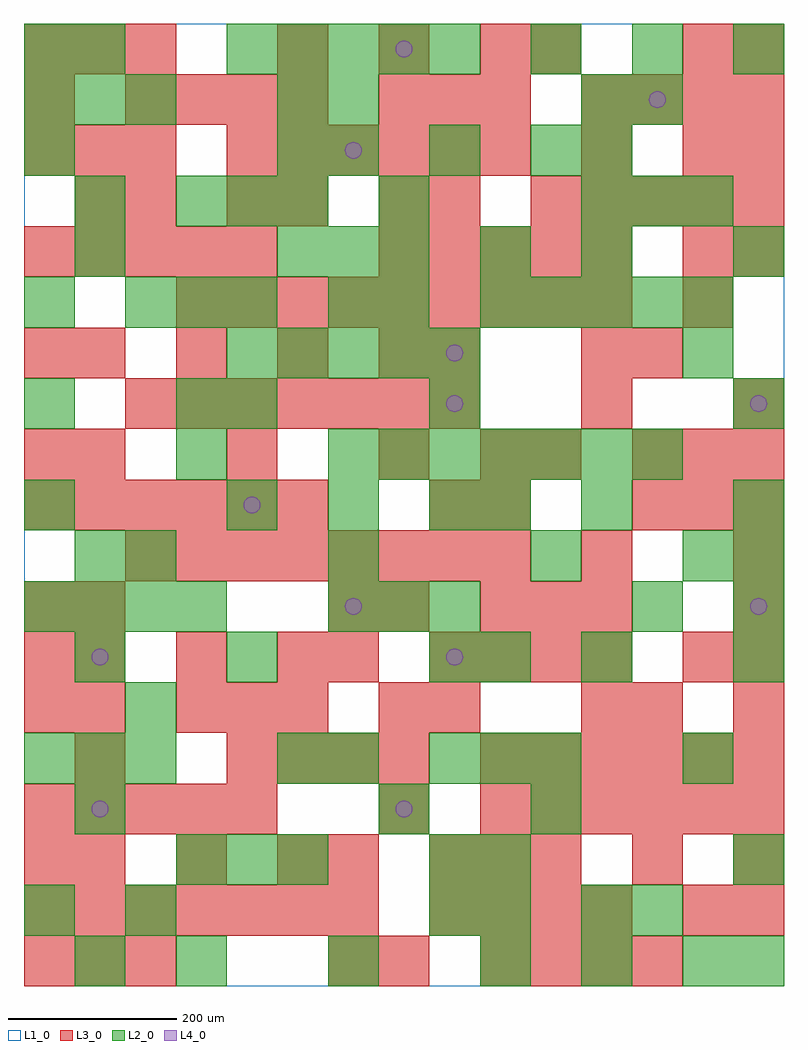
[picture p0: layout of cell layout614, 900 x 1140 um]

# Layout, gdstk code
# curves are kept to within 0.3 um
import gdstk
lib = gdstk.Library(unit=1e-6, precision=1e-09)
def R(c, l, rs):  # rectangles x0, y0, x1, y1
    for r in rs: c.add(gdstk.rectangle(r[:2], r[2:], *l))
def A(c, l, x, y, w, h, nx, ny, dx, dy):  # array of equal rectangles
    R(c, l, [(x+i*dx, y+j*dy, x+i*dx+w, y+j*dy+h) for i in range(nx) for j in range(ny)])
def P(c, l, *ps):  # polygons
    for p in ps: c.add(gdstk.Polygon(p, *l))
L1_0 = (1, 0)
L2_0 = (2, 0)
L3_0 = (3, 0)
L4_0 = (4, 0)

layout614 = lib.new_cell('layout614')
R(layout614, L1_0, [(0,0,900,1140)])
A(layout614, L2_0, 60, 0, 60, 60, 1, 3, 0, 180)
A(layout614, L2_0, 180, 0, 60, 60, 3, 1, 180, 0)
A(layout614, L2_0, 780, 0, 60, 60, 1, 4, 0, 240)
A(layout614, L2_0, 180, 120, 60, 60, 3, 2, 60, 780)
A(layout614, L2_0, 0, 240, 60, 60, 3, 2, 60, 780)
A(layout614, L2_0, 480, 240, 60, 60, 3, 1, 60, 0)
A(layout614, L2_0, 840, 360, 60, 60, 1, 4, 0, 60)
A(layout614, L2_0, 0, 420, 60, 60, 4, 1, 60, 0)
A(layout614, L2_0, 360, 420, 60, 60, 3, 1, 60, 0)
A(layout614, L2_0, 120, 480, 60, 60, 3, 1, 240, 0)
A(layout614, L2_0, 0, 540, 60, 60, 1, 3, 0, 120)
A(layout614, L2_0, 240, 540, 60, 60, 3, 1, 120, 0)
A(layout614, L2_0, 360, 600, 60, 60, 7, 1, 60, 0)
A(layout614, L2_0, 240, 720, 60, 60, 5, 2, 60, 360)
A(layout614, L2_0, 120, 780, 60, 60, 3, 1, 60, 0)
A(layout614, L2_0, 540, 780, 60, 60, 5, 1, 60, 0)
A(layout614, L2_0, 300, 840, 60, 60, 3, 1, 60, 0)
A(layout614, L2_0, 660, 900, 60, 60, 3, 1, 60, 0)
A(layout614, L2_0, 360, 960, 60, 60, 3, 1, 120, 0)
A(layout614, L2_0, 600, 1080, 60, 60, 3, 1, 120, 0)
R(layout614, L2_0, [(660,0,720,60), (840,0,900,60), (0,60,60,120), (120,60,180,120), (480,60,540,120), (540,60,600,120), (660,60,720,120), (720,60,780,120), (480,120,540,180), (540,120,600,180), (840,120,900,180), (420,180,480,240), (600,180,660,240), (300,240,360,300), (360,240,420,300), (120,300,180,360), (240,360,300,420), (480,360,540,420), (540,360,600,420), (660,360,720,420), (720,420,780,480), (60,480,120,540), (540,540,600,600), (660,540,720,600), (180,600,240,660), (180,660,240,720), (240,660,300,720), (480,660,540,720), (840,660,900,720), (360,780,420,840), (420,780,480,840), (60,840,120,900), (540,840,600,900), (660,840,720,900), (840,840,900,900), (60,900,120,960), (420,900,480,960), (0,960,60,1020), (300,960,360,1020), (660,960,720,1020), (300,1020,360,1080), (360,1020,420,1080), (660,1020,720,1080), (720,1020,780,1080), (0,1080,60,1140), (60,1080,120,1140)])
A(layout614, L3_0, 0, 0, 60, 60, 3, 2, 60, 960)
A(layout614, L3_0, 540, 0, 60, 60, 4, 1, 60, 0)
A(layout614, L3_0, 0, 60, 60, 60, 7, 1, 60, 0)
A(layout614, L3_0, 480, 60, 60, 60, 4, 2, 60, 300)
A(layout614, L3_0, 60, 120, 60, 60, 3, 2, 120, 240)
A(layout614, L3_0, 480, 120, 60, 60, 3, 1, 60, 0)
A(layout614, L3_0, 0, 180, 60, 60, 5, 2, 60, 660)
A(layout614, L3_0, 420, 180, 60, 60, 1, 3, 0, 120)
A(layout614, L3_0, 540, 180, 60, 60, 6, 2, 60, 60)
A(layout614, L3_0, 240, 240, 60, 60, 4, 1, 60, 0)
A(layout614, L3_0, 0, 300, 60, 60, 1, 3, 0, 60)
A(layout614, L3_0, 180, 300, 60, 60, 3, 1, 60, 0)
A(layout614, L3_0, 660, 300, 60, 60, 1, 3, 0, 180)
A(layout614, L3_0, 840, 300, 60, 60, 1, 4, 0, 60)
A(layout614, L3_0, 540, 420, 60, 60, 3, 1, 60, 0)
A(layout614, L3_0, 120, 480, 60, 60, 8, 1, 60, 0)
A(layout614, L3_0, 0, 540, 60, 60, 6, 1, 60, 0)
A(layout614, L3_0, 480, 540, 60, 60, 1, 3, 0, 180)
A(layout614, L3_0, 720, 540, 60, 60, 3, 2, 60, 60)
A(layout614, L3_0, 60, 600, 60, 60, 3, 1, 180, 0)
A(layout614, L3_0, 120, 660, 60, 60, 7, 1, 60, 0)
A(layout614, L3_0, 60, 720, 60, 60, 4, 1, 120, 0)
A(layout614, L3_0, 180, 780, 60, 60, 9, 1, 60, 0)
A(layout614, L3_0, 420, 840, 60, 60, 5, 1, 60, 0)
A(layout614, L3_0, 780, 840, 60, 60, 1, 3, 0, 120)
A(layout614, L3_0, 840, 840, 60, 60, 1, 3, 0, 120)
A(layout614, L3_0, 600, 900, 60, 60, 5, 1, 60, 0)
A(layout614, L3_0, 240, 960, 60, 60, 6, 1, 60, 0)
A(layout614, L3_0, 120, 1020, 60, 60, 4, 1, 60, 0)
A(layout614, L3_0, 420, 1020, 60, 60, 3, 1, 60, 0)
A(layout614, L3_0, 660, 1020, 60, 60, 4, 1, 60, 0)
A(layout614, L3_0, 0, 1080, 60, 60, 3, 1, 60, 0)
A(layout614, L3_0, 300, 1080, 60, 60, 3, 1, 120, 0)
R(layout614, L3_0, [(360,0,420,60), (420,0,480,60), (780,60,840,120), (840,60,900,120), (0,120,60,180), (360,120,420,180), (720,120,780,180), (840,120,900,180), (60,240,120,300), (60,300,120,360), (480,300,540,360), (720,300,780,360), (360,360,420,420), (780,360,840,420), (60,420,120,480), (360,420,420,480), (540,540,600,600), (0,600,60,660), (540,600,600,660), (600,600,660,660), (840,660,900,720), (0,720,60,780), (660,720,720,780), (720,720,780,780), (780,780,840,840), (60,900,120,960), (120,900,180,960), (240,900,300,960), (300,900,360,960), (420,900,480,960), (660,960,720,1020), (0,1020,60,1080), (600,1080,660,1140)])
P(layout614, L4_0, [(100,210),(99.239,213.827),(97.071,217.071),(93.827,219.239),(90,220),(86.173,219.239),(82.929,217.071),(80.761,213.827),(80,210),(80.761,206.173),(82.929,202.929),(86.173,200.761),(90,200),(93.827,200.761),(97.071,202.929),(99.239,206.173)],
  [(100,390),(99.239,393.827),(97.071,397.071),(93.827,399.239),(90,400),(86.173,399.239),(82.929,397.071),(80.761,393.827),(80,390),(80.761,386.173),(82.929,382.929),(86.173,380.761),(90,380),(93.827,380.761),(97.071,382.929),(99.239,386.173)],
  [(280,570),(279.239,573.827),(277.071,577.071),(273.827,579.239),(270,580),(266.173,579.239),(262.929,577.071),(260.761,573.827),(260,570),(260.761,566.173),(262.929,562.929),(266.173,560.761),(270,560),(273.827,560.761),(277.071,562.929),(279.239,566.173)],
  [(400,450),(399.239,453.827),(397.071,457.071),(393.827,459.239),(390,460),(386.173,459.239),(382.929,457.071),(380.761,453.827),(380,450),(380.761,446.173),(382.929,442.929),(386.173,440.761),(390,440),(393.827,440.761),(397.071,442.929),(399.239,446.173)],
  [(400,990),(399.239,993.827),(397.071,997.071),(393.827,999.239),(390,1000),(386.173,999.239),(382.929,997.071),(380.761,993.827),(380,990),(380.761,986.173),(382.929,982.929),(386.173,980.761),(390,980),(393.827,980.761),(397.071,982.929),(399.239,986.173)],
  [(460,210),(459.239,213.827),(457.071,217.071),(453.827,219.239),(450,220),(446.173,219.239),(442.929,217.071),(440.761,213.827),(440,210),(440.761,206.173),(442.929,202.929),(446.173,200.761),(450,200),(453.827,200.761),(457.071,202.929),(459.239,206.173)],
  [(460,1110),(459.239,1113.827),(457.071,1117.071),(453.827,1119.239),(450,1120),(446.173,1119.239),(442.929,1117.071),(440.761,1113.827),(440,1110),(440.761,1106.173),(442.929,1102.929),(446.173,1100.761),(450,1100),(453.827,1100.761),(457.071,1102.929),(459.239,1106.173)],
  [(520,390),(519.239,393.827),(517.071,397.071),(513.827,399.239),(510,400),(506.173,399.239),(502.929,397.071),(500.761,393.827),(500,390),(500.761,386.173),(502.929,382.929),(506.173,380.761),(510,380),(513.827,380.761),(517.071,382.929),(519.239,386.173)],
  [(520,690),(519.239,693.827),(517.071,697.071),(513.827,699.239),(510,700),(506.173,699.239),(502.929,697.071),(500.761,693.827),(500,690),(500.761,686.173),(502.929,682.929),(506.173,680.761),(510,680),(513.827,680.761),(517.071,682.929),(519.239,686.173)],
  [(520,750),(519.239,753.827),(517.071,757.071),(513.827,759.239),(510,760),(506.173,759.239),(502.929,757.071),(500.761,753.827),(500,750),(500.761,746.173),(502.929,742.929),(506.173,740.761),(510,740),(513.827,740.761),(517.071,742.929),(519.239,746.173)],
  [(760,1050),(759.239,1053.827),(757.071,1057.071),(753.827,1059.239),(750,1060),(746.173,1059.239),(742.929,1057.071),(740.761,1053.827),(740,1050),(740.761,1046.173),(742.929,1042.929),(746.173,1040.761),(750,1040),(753.827,1040.761),(757.071,1042.929),(759.239,1046.173)],
  [(880,450),(879.239,453.827),(877.071,457.071),(873.827,459.239),(870,460),(866.173,459.239),(862.929,457.071),(860.761,453.827),(860,450),(860.761,446.173),(862.929,442.929),(866.173,440.761),(870,440),(873.827,440.761),(877.071,442.929),(879.239,446.173)],
  [(880,690),(879.239,693.827),(877.071,697.071),(873.827,699.239),(870,700),(866.173,699.239),(862.929,697.071),(860.761,693.827),(860,690),(860.761,686.173),(862.929,682.929),(866.173,680.761),(870,680),(873.827,680.761),(877.071,682.929),(879.239,686.173)])

lib.write_gds('layout614.gds')
